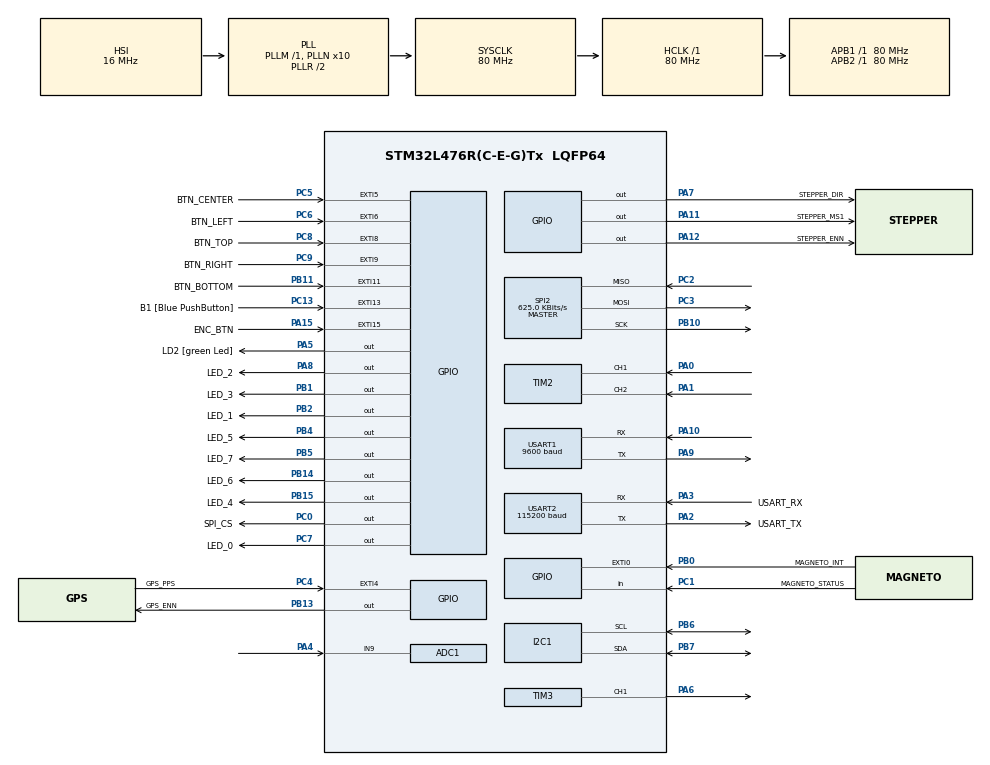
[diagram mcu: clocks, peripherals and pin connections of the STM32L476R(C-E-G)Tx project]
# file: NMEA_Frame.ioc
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ADC1.Channel-2\#ChannelRegularConversion=ADC_CHANNEL_9
ADC1.ContinuousConvMode=DISABLE
ADC1.ExternalTrigConv=ADC_EXTERNALTRIG_T4_TRGO
ADC1.NbrOfConversionFlag=1
ADC1.OffsetNumber-2\#ChannelRegularConversion=ADC_OFFSET_NONE
ADC1.Rank-2\#ChannelRegularConversion=1
ADC1.SamplingTime-2\#ChannelRegularConversion=ADC_SAMPLETIME_2CYCLES_5
ADC1.master=1
I2C1.Timing=0x10909CEC
Mcu.Family=STM32L4
Mcu.Name=STM32L476R(C-E-G)Tx
Mcu.Package=LQFP64
NVIC.ADC1_2_IRQn=true\:0\:0\:false\:false\:true\:true\:true\:true
NVIC.EXTI15_10_IRQn=true\:0\:0\:false\:false\:true\:true\:true\:true
NVIC.PriorityGroup=NVIC_PRIORITYGROUP_4
NVIC.TIM4_IRQn=true\:0\:0\:false\:false\:true\:true\:true\:true
NVIC.TIM6_DAC_IRQn=true\:15\:0\:false\:false\:true\:false\:true\:true
NVIC.TimeBase=TIM6_DAC_IRQn
NVIC.TimeBaseIP=TIM6
PA0.Signal=S_TIM2_CH1
PA1.Signal=S_TIM2_CH2
PA10.Mode=Asynchronous
PA10.Signal=USART1_RX
PA11.GPIO_Label=STEPPER_MS1
PA11.Signal=GPIO_Output
PA12.GPIO_Label=STEPPER_ENN
PA12.PinState=GPIO_PIN_SET
PA12.Signal=GPIO_Output
PA13\ (JTMS-SWDIO).GPIO_Label=TMS
PA13\ (JTMS-SWDIO).Mode=Trace_Asynchronous_SW
PA13\ (JTMS-SWDIO).Signal=SYS_JTMS-SWDIO
PA14\ (JTCK-SWCLK).GPIO_Label=TCK
PA14\ (JTCK-SWCLK).Mode=Trace_Asynchronous_SW
PA14\ (JTCK-SWCLK).Signal=SYS_JTCK-SWCLK
PA15\ (JTDI).GPIO_Label=ENC_BTN
PA15\ (JTDI).Signal=GPXTI15
PA2.GPIO_Label=USART_TX
PA2.GPIO_Mode=GPIO_MODE_AF_PP
PA2.GPIO_PuPd=GPIO_NOPULL
PA2.GPIO_Speed=GPIO_SPEED_FREQ_VERY_HIGH
PA2.Mode=Asynchronous
PA2.Signal=USART2_TX
PA3.GPIO_Label=USART_RX
PA3.GPIO_Mode=GPIO_MODE_AF_PP
PA3.GPIO_PuPd=GPIO_NOPULL
PA3.GPIO_Speed=GPIO_SPEED_FREQ_VERY_HIGH
PA3.Mode=Asynchronous
PA3.Signal=USART2_RX
PA4.Signal=ADCx_IN9
PA5.GPIO_Label=LD2 [green Led]
PA5.GPIO_ModeDefaultOutputPP=GPIO_MODE_OUTPUT_PP
PA5.GPIO_PuPd=GPIO_NOPULL
PA5.GPIO_Speed=GPIO_SPEED_FREQ_LOW
PA5.Signal=GPIO_Output
PA6.Signal=S_TIM3_CH1
PA7.GPIO_Label=STEPPER_DIR
PA7.Signal=GPIO_Output
PA8.GPIO_Label=LED_2
PA8.Signal=GPIO_Output
PA9.Mode=Asynchronous
PA9.Signal=USART1_TX
PB0.GPIO_Label=MAGNETO_INT
PB0.Signal=GPXTI0
PB1.GPIO_Label=LED_3
PB1.Signal=GPIO_Output
PB10.Mode=Full_Duplex_Master
PB10.Signal=SPI2_SCK
PB11.GPIO_Label=BTN_BOTTOM
PB11.Signal=GPXTI11
PB13.GPIO_Label=GPS_ENN
PB13.Signal=GPIO_Output
PB14.GPIO_Label=LED_6
PB14.Signal=GPIO_Output
PB15.GPIO_Label=LED_4
PB15.Signal=GPIO_Output
PB2.GPIO_Label=LED_1
PB2.Signal=GPIO_Output
PB3\ (JTDO-TRACESWO).Mode=Trace_Asynchronous_SW
PB3\ (JTDO-TRACESWO).Signal=SYS_JTDO-SWO
PB4\ (NJTRST).GPIO_Label=LED_5
PB4\ (NJTRST).Signal=GPIO_Output
PB5.GPIO_Label=LED_7
PB5.Signal=GPIO_Output
PB6.Mode=I2C
PB6.Signal=I2C1_SCL
PB7.Mode=I2C
PB7.Signal=I2C1_SDA
PC0.GPIO_Label=SPI_CS
PC0.PinState=GPIO_PIN_SET
PC0.Signal=GPIO_Output
PC1.GPIO_Label=MAGNETO_STATUS
PC1.Signal=GPIO_Input
PC13.GPIO_Label=B1 [Blue PushButton]
PC13.GPIO_ModeDefaultEXTI=GPIO_MODE_IT_FALLING
PC13.GPIO_PuPd=GPIO_NOPULL
PC13.Signal=GPXTI13
PC14-OSC32_IN\ (PC14).Mode=LSE-External-Oscillator
PC14-OSC32_IN\ (PC14).Signal=RCC_OSC32_IN
PC15-OSC32_OUT\ (PC15).Mode=LSE-External-Oscillator
PC15-OSC32_OUT\ (PC15).Signal=RCC_OSC32_OUT
PC2.Mode=Full_Duplex_Master
PC2.Signal=SPI2_MISO
PC3.Mode=Full_Duplex_Master
PC3.Signal=SPI2_MOSI
PC4.GPIO_Label=GPS_PPS
PC4.Signal=GPXTI4
PC5.GPIO_Label=BTN_CENTER
PC5.Signal=GPXTI5
PC6.GPIO_Label=BTN_LEFT
PC6.Signal=GPXTI6
PC7.GPIO_Label=LED_0
PC7.Signal=GPIO_Output
PC8.GPIO_Label=BTN_TOP
PC8.Signal=GPXTI8
PC9.GPIO_Label=BTN_RIGHT
PC9.Signal=GPXTI9
PH0-OSC_IN\ (PH0).Mode=HSE-External-Oscillator
PH0-OSC_IN\ (PH0).Signal=RCC_OSC_IN
PH1-OSC_OUT\ (PH1).Mode=HSE-External-Oscillator
PH1-OSC_OUT\ (PH1).Signal=RCC_OSC_OUT
ProjectManager.HeapSize=0x200
ProjectManager.StackSize=0x400
ProjectManager.TargetToolchain=STM32CubeIDE
RCC.ADCFreq_Value=64000000
RCC.AHBFreq_Value=80000000
RCC.APB1Freq_Value=80000000
RCC.APB1TimFreq_Value=80000000
RCC.APB2Freq_Value=80000000
RCC.APB2TimFreq_Value=80000000
RCC.CortexFreq_Value=80000000
RCC.HCLKFreq_Value=80000000
RCC.HSE_VALUE=8000000
RCC.HSI_VALUE=16000000
RCC.MSI_VALUE=4000000
RCC.PLLN=10
RCC.PLLSourceVirtual=RCC_PLLSOURCE_HSI
RCC.PREFETCH_ENABLE=1
RCC.SYSCLKFreq_VALUE=80000000
RCC.SYSCLKSource=RCC_SYSCLKSOURCE_PLLCLK
RCC.USBFreq_Value=64000000
RCC.VCOOutputFreq_Value=160000000
SH.ADCx_IN9.0=ADC1_IN9,IN9-Single-Ended
SH.S_TIM2_CH1.0=TIM2_CH1,Encoder_Interface
SH.S_TIM2_CH2.0=TIM2_CH2,Encoder_Interface
SH.S_TIM3_CH1.0=TIM3_CH1,PWM Generation1 CH1
SPI2.BaudRatePrescaler=SPI_BAUDRATEPRESCALER_128
SPI2.CalculateBaudRate=625.0 KBits/s
SPI2.DataSize=SPI_DATASIZE_8BIT
SPI2.Direction=SPI_DIRECTION_2LINES
SPI2.Mode=SPI_MODE_MASTER
SPI2.NSSPMode=SPI_NSS_PULSE_DISABLE
SPI2.VirtualType=VM_MASTER
TIM3.Channel-PWM\ Generation1\ CH1=TIM_CHANNEL_1
TIM4.Period=9999
TIM4.Prescaler=79
TIM4.TIM_MasterOutputTrigger=TIM_TRGO_UPDATE
USART1.BaudRate=9600
USART1.VirtualMode-Asynchronous=VM_ASYNC
USART2.BaudRate=115200
USART2.VirtualMode-Asynchronous=VM_ASYNC
VP_SYS_VS_tim6.Mode=TIM6
VP_TIM3_VS_ClockSourceINT.Mode=Internal
VP_TIM4_VS_ClockSourceINT.Mode=Internal
board=NUCLEO-L476RG

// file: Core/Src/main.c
/* USER CODE BEGIN Header */
/**
  ******************************************************************************
  * @file           : main.c
  * @brief          : Main program body
  ******************************************************************************
  * @attention
  *
  * Copyright (c) 2025 STMicroelectronics.
  * All rights reserved.
  *
  * This software is licensed under terms that can be found in the LICENSE file
  * in the root directory of this software component.
  * If no LICENSE file comes with this software, it is provided AS-IS.
  *
  ******************************************************************************
  */
/* USER CODE END Header */
#include "main.h"
#include "adc.h"
#include "i2c.h"
#include "spi.h"
#include "tim.h"
#include "usart.h"
#include "gpio.h"

/* USER CODE BEGIN Includes */
#include <stm32l4xx_hal.h>
#include <stdio.h>
#include "stm32l4xx_hal.h"
#include "utils.h"
/* USER CODE END Includes */

void SystemClock_Config(void);

/* USER CODE BEGIN 0 */
int __io_putchar(int ch){
	HAL_UART_Transmit(&huart2, (uint8_t *)&ch, 1, HAL_MAX_DELAY);
	return ch;
}

int __io_getchar(void){
	uint8_t ch = 0;
	__HAL_UART_CLEAR_OREFLAG(&huart2);
	HAL_UART_Receive(&huart2, (uint8_t *)&ch, 1, HAL_MAX_DELAY);
	HAL_UART_Transmit(&huart2, (uint8_t *)&ch, 1, HAL_MAX_DELAY);
	return ch;

}
/* USER CODE END 0 */

int main(void)
{

  /* MCU Configuration--------------------------------------------------------*/

  /* Reset of all peripherals, Initializes the Flash interface and the Systick. */
  HAL_Init();

  /* Configure the system clock */
  SystemClock_Config();

  /* Initialize all configured peripherals */
  MX_GPIO_Init();
  MX_USART2_UART_Init();
  MX_I2C1_Init();
  MX_SPI2_Init();
  MX_TIM2_Init();
  MX_TIM3_Init();
  MX_USART1_UART_Init();
  MX_ADC1_Init();
  MX_TIM4_Init();
  /* USER CODE BEGIN 2 */
  setup();
  /* USER CODE END 2 */

  /* Infinite loop */
  while (1)
  {

    /* USER CODE BEGIN 3 */
	  loop();
  }
  /* USER CODE END 3 */
}

void SystemClock_Config(void)
{
  RCC_OscInitTypeDef RCC_OscInitStruct = {0};
  RCC_ClkInitTypeDef RCC_ClkInitStruct = {0};

  /** Configure the main internal regulator output voltage
  */
  if (HAL_PWREx_ControlVoltageScaling(PWR_REGULATOR_VOLTAGE_SCALE1) != HAL_OK)
  {
    Error_Handler();
  }

  /** Initializes the RCC Oscillators according to the specified parameters
  * in the RCC_OscInitTypeDef structure.
  */
  RCC_OscInitStruct.OscillatorType = RCC_OSCILLATORTYPE_HSI;
  RCC_OscInitStruct.HSIState = RCC_HSI_ON;
  RCC_OscInitStruct.HSICalibrationValue = RCC_HSICALIBRATION_DEFAULT;
  RCC_OscInitStruct.PLL.PLLState = RCC_PLL_ON;
  RCC_OscInitStruct.PLL.PLLSource = RCC_PLLSOURCE_HSI;
  RCC_OscInitStruct.PLL.PLLM = 1;
  RCC_OscInitStruct.PLL.PLLN = 10;
  RCC_OscInitStruct.PLL.PLLP = RCC_PLLP_DIV7;
  RCC_OscInitStruct.PLL.PLLQ = RCC_PLLQ_DIV2;
  RCC_OscInitStruct.PLL.PLLR = RCC_PLLR_DIV2;
  if (HAL_RCC_OscConfig(&RCC_OscInitStruct) != HAL_OK)
  {
    Error_Handler();
  }

  /** Initializes the CPU, AHB and APB buses clocks
  */
  RCC_ClkInitStruct.ClockType = RCC_CLOCKTYPE_HCLK|RCC_CLOCKTYPE_SYSCLK
                              |RCC_CLOCKTYPE_PCLK1|RCC_CLOCKTYPE_PCLK2;
  RCC_ClkInitStruct.SYSCLKSource = RCC_SYSCLKSOURCE_PLLCLK;
  RCC_ClkInitStruct.AHBCLKDivider = RCC_SYSCLK_DIV1;
  RCC_ClkInitStruct.APB1CLKDivider = RCC_HCLK_DIV1;
  RCC_ClkInitStruct.APB2CLKDivider = RCC_HCLK_DIV1;

  if (HAL_RCC_ClockConfig(&RCC_ClkInitStruct, FLASH_LATENCY_4) != HAL_OK)
  {
    Error_Handler();
  }
}

void HAL_TIM_PeriodElapsedCallback(TIM_HandleTypeDef *htim)
{
  if (htim->Instance == TIM6) {
    HAL_IncTick();
  }
}

void Error_Handler(void)
{
  __disable_irq();
  while (1)
  {
  }
}
